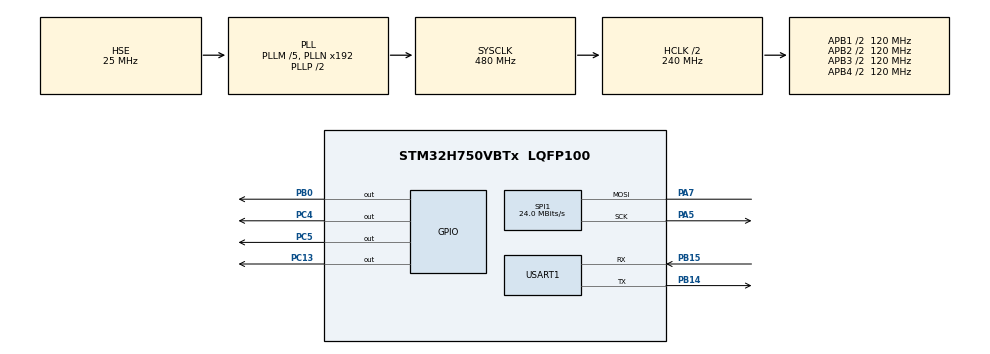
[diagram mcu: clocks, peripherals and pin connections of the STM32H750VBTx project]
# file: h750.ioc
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DMA2D.ColorMode=DMA2D_OUTPUT_RGB565
Dma.Request0=SPI1_TX
Dma.SPI1_TX.0.Direction=DMA_MEMORY_TO_PERIPH
Dma.SPI1_TX.0.EventEnable=DISABLE
Dma.SPI1_TX.0.FIFOMode=DMA_FIFOMODE_DISABLE
Dma.SPI1_TX.0.Instance=DMA1_Stream0
Dma.SPI1_TX.0.MemDataAlignment=DMA_MDATAALIGN_BYTE
Dma.SPI1_TX.0.MemInc=DMA_MINC_ENABLE
Dma.SPI1_TX.0.Mode=DMA_NORMAL
Dma.SPI1_TX.0.PeriphDataAlignment=DMA_PDATAALIGN_BYTE
Dma.SPI1_TX.0.PeriphInc=DMA_PINC_DISABLE
Dma.SPI1_TX.0.Polarity=HAL_DMAMUX_REQ_GEN_RISING
Dma.SPI1_TX.0.Priority=DMA_PRIORITY_LOW
Dma.SPI1_TX.0.RequestNumber=1
Dma.SPI1_TX.0.SignalID=NONE
Dma.SPI1_TX.0.SyncEnable=DISABLE
Dma.SPI1_TX.0.SyncPolarity=HAL_DMAMUX_SYNC_NO_EVENT
Dma.SPI1_TX.0.SyncRequestNumber=1
Dma.SPI1_TX.0.SyncSignalID=NONE
Mcu.Family=STM32H7
Mcu.Name=STM32H750VBTx
Mcu.Package=LQFP100
NVIC.DMA1_Stream0_IRQn=true\:0\:0\:false\:false\:true\:false\:true\:true
NVIC.PriorityGroup=NVIC_PRIORITYGROUP_4
NVIC.SPI1_IRQn=true\:0\:0\:false\:false\:true\:false\:true\:true
NVIC.TIM1_UP_IRQn=true\:0\:0\:false\:false\:true\:true\:true\:true
PA5.Mode=Simplex_Bidirectional_Master
PA5.Signal=SPI1_SCK
PA7.Mode=Simplex_Bidirectional_Master
PA7.Signal=SPI1_MOSI
PB0.GPIO_Speed=GPIO_SPEED_FREQ_VERY_HIGH
PB0.Signal=GPIO_Output
PB14.Mode=Asynchronous
PB14.Signal=USART1_TX
PB15.Mode=Asynchronous
PB15.Signal=USART1_RX
PC13.Signal=GPIO_Output
PC4.GPIO_Speed=GPIO_SPEED_FREQ_VERY_HIGH
PC4.Signal=GPIO_Output
PC5.GPIO_Speed=GPIO_SPEED_FREQ_VERY_HIGH
PC5.Signal=GPIO_Output
PH0-OSC_IN\ (PH0).Mode=HSE-External-Oscillator
PH0-OSC_IN\ (PH0).Signal=RCC_OSC_IN
PH1-OSC_OUT\ (PH1).Mode=HSE-External-Oscillator
PH1-OSC_OUT\ (PH1).Signal=RCC_OSC_OUT
ProjectManager.HeapSize=0x200
ProjectManager.StackSize=0x1000
ProjectManager.TargetToolchain=MDK-ARM V5.32
RCC.ADCFreq_Value=4000000
RCC.APB1Freq_Value=120000000
RCC.APB2Freq_Value=120000000
RCC.APB3Freq_Value=120000000
RCC.APB4Freq_Value=120000000
RCC.CortexFreq_Value=480000000
RCC.D1PPRE=RCC_APB3_DIV2
RCC.D2PPRE1=RCC_APB1_DIV2
RCC.D2PPRE2=RCC_APB2_DIV2
RCC.D3PPRE=RCC_APB4_DIV2
RCC.DIVM1=5
RCC.DIVM2=25
RCC.DIVN1=192
RCC.DIVN2=4
RCC.DIVP2=1
RCC.DIVQ1=5
RCC.HCLKFreq_Value=240000000
RCC.HPRE=RCC_HCLK_DIV2
RCC.PLL2FRACN=0
RCC.PLL3FRACN=0
RCC.PLLFRACN=0
RCC.PLLSourceVirtual=RCC_PLLSOURCE_HSE
RCC.PWR_Regulator_Voltage_Scale=PWR_REGULATOR_VOLTAGE_SCALE0
RCC.ProductRev=revV
RCC.SYSCLKFreq_VALUE=480000000
RCC.SYSCLKSource=RCC_SYSCLKSOURCE_PLLCLK
RCC.USBFreq_Value=192000000
SPI1.BaudRatePrescaler=SPI_BAUDRATEPRESCALER_8
SPI1.CalculateBaudRate=24.0 MBits/s
SPI1.DataSize=SPI_DATASIZE_8BIT
SPI1.Direction=SPI_DIRECTION_1LINE
SPI1.Mode=SPI_MODE_MASTER
SPI1.VirtualType=VM_MASTER
TIM1.AutoReloadPreload=TIM_AUTORELOAD_PRELOAD_ENABLE
TIM1.Period=4999
TIM1.Prescaler=239
USART1.VirtualMode-Asynchronous=VM_ASYNC
VP_DMA2D_VS_DMA2D.Mode=DMA2D_Activate
VP_TIM1_VS_ClockSourceINT.Mode=Internal
board=custom

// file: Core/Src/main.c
/* USER CODE BEGIN Header */
/**
  ******************************************************************************
  * @file           : main.c
  * @brief          : Main program body
  ******************************************************************************
  * @attention
  *
  * Copyright (c) 2023 STMicroelectronics.
  * All rights reserved.
  *
  * This software is licensed under terms that can be found in the LICENSE file
  * in the root directory of this software component.
  * If no LICENSE file comes with this software, it is provided AS-IS.
  *
  ******************************************************************************
  */
/* USER CODE END Header */
#include "main.h"
#include "dma.h"
#include "dma2d.h"
#include "spi.h"
#include "tim.h"
#include "usart.h"
#include "gpio.h"

/* USER CODE BEGIN Includes */
#include "lvgl.h"
#include "lv_port_disp_template.h"
#include "../APP/startPage/startPage.h"
/* USER CODE END Includes */

void SystemClock_Config(void);

/* USER CODE BEGIN 0 */
uint32_t d_t=0;
uint32_t t=0;
extern lv_anim_timeline_t* start_anim_timeline ;
void lv_ex_label(void)
{
//	lv_demo_benchmark();
      ui_Screen1_screen_init();
//    ui_Bar1 = lv_bar_create(lv_scr_act());
//lv_obj_set_style_opa(ui_Bar1, 0, 0);
//lv_bar_set_value(ui_Bar1,0,LV_ANIM_ON);
//lv_obj_set_width( ui_Bar1, 150);
//lv_obj_set_height( ui_Bar1, 10);
//lv_obj_set_align( ui_Bar1, LV_ALIGN_CENTER );

}

/* USER CODE END 0 */

int main(void)
{
  /* USER CODE BEGIN 1 */
uint32_t t=1;
  /* USER CODE END 1 */

  /* MCU Configuration--------------------------------------------------------*/

  /* Reset of all peripherals, Initializes the Flash interface and the Systick. */
  HAL_Init();

  /* Configure the system clock */
  SystemClock_Config();

  /* Initialize all configured peripherals */
  MX_GPIO_Init();
  MX_DMA_Init();
  MX_SPI1_Init();
  MX_DMA2D_Init();
  MX_USART1_UART_Init();
  MX_TIM1_Init();
  /* USER CODE BEGIN 2 */
  printf("hello\n");
 LCD_Init();
 lv_init();
 lv_port_disp_init();
 lv_ex_label();

  /* USER CODE END 2 */

  /* Infinite loop */
  while (1)
  {

    /* USER CODE BEGIN 3 */
//      lv_tick_inc(HAL_GetTick()-t);

     lv_task_handler();

  }
  /* USER CODE END 3 */
}

void SystemClock_Config(void)
{
  RCC_OscInitTypeDef RCC_OscInitStruct = {0};
  RCC_ClkInitTypeDef RCC_ClkInitStruct = {0};

  /** Supply configuration update enable
  */
  HAL_PWREx_ConfigSupply(PWR_LDO_SUPPLY);

  /** Configure the main internal regulator output voltage
  */
  __HAL_PWR_VOLTAGESCALING_CONFIG(PWR_REGULATOR_VOLTAGE_SCALE1);

  while(!__HAL_PWR_GET_FLAG(PWR_FLAG_VOSRDY)) {}

  __HAL_RCC_SYSCFG_CLK_ENABLE();
  __HAL_PWR_VOLTAGESCALING_CONFIG(PWR_REGULATOR_VOLTAGE_SCALE0);

  while(!__HAL_PWR_GET_FLAG(PWR_FLAG_VOSRDY)) {}

  /** Initializes the RCC Oscillators according to the specified parameters
  * in the RCC_OscInitTypeDef structure.
  */
  RCC_OscInitStruct.OscillatorType = RCC_OSCILLATORTYPE_HSE;
  RCC_OscInitStruct.HSEState = RCC_HSE_ON;
  RCC_OscInitStruct.PLL.PLLState = RCC_PLL_ON;
  RCC_OscInitStruct.PLL.PLLSource = RCC_PLLSOURCE_HSE;
  RCC_OscInitStruct.PLL.PLLM = 5;
  RCC_OscInitStruct.PLL.PLLN = 192;
  RCC_OscInitStruct.PLL.PLLP = 2;
  RCC_OscInitStruct.PLL.PLLQ = 5;
  RCC_OscInitStruct.PLL.PLLR = 2;
  RCC_OscInitStruct.PLL.PLLRGE = RCC_PLL1VCIRANGE_2;
  RCC_OscInitStruct.PLL.PLLVCOSEL = RCC_PLL1VCOWIDE;
  RCC_OscInitStruct.PLL.PLLFRACN = 0;
  if (HAL_RCC_OscConfig(&RCC_OscInitStruct) != HAL_OK)
  {
    Error_Handler();
  }

  /** Initializes the CPU, AHB and APB buses clocks
  */
  RCC_ClkInitStruct.ClockType = RCC_CLOCKTYPE_HCLK|RCC_CLOCKTYPE_SYSCLK
                              |RCC_CLOCKTYPE_PCLK1|RCC_CLOCKTYPE_PCLK2
                              |RCC_CLOCKTYPE_D3PCLK1|RCC_CLOCKTYPE_D1PCLK1;
  RCC_ClkInitStruct.SYSCLKSource = RCC_SYSCLKSOURCE_PLLCLK;
  RCC_ClkInitStruct.SYSCLKDivider = RCC_SYSCLK_DIV1;
  RCC_ClkInitStruct.AHBCLKDivider = RCC_HCLK_DIV2;
  RCC_ClkInitStruct.APB3CLKDivider = RCC_APB3_DIV2;
  RCC_ClkInitStruct.APB1CLKDivider = RCC_APB1_DIV2;
  RCC_ClkInitStruct.APB2CLKDivider = RCC_APB2_DIV2;
  RCC_ClkInitStruct.APB4CLKDivider = RCC_APB4_DIV2;

  if (HAL_RCC_ClockConfig(&RCC_ClkInitStruct, FLASH_LATENCY_4) != HAL_OK)
  {
    Error_Handler();
  }
}

/* USER CODE BEGIN 4 */
void HAL_TIM_PeriodElapsedCallback(TIM_HandleTypeDef *htim)
{

	// 判断是定时器3发生的中断
	if(htim->Instance == TIM1)
	{
		lv_task_handler();
	}
}
/* USER CODE END 4 */

void Error_Handler(void)
{
  __disable_irq();
  while (1)
  {
  }
}
